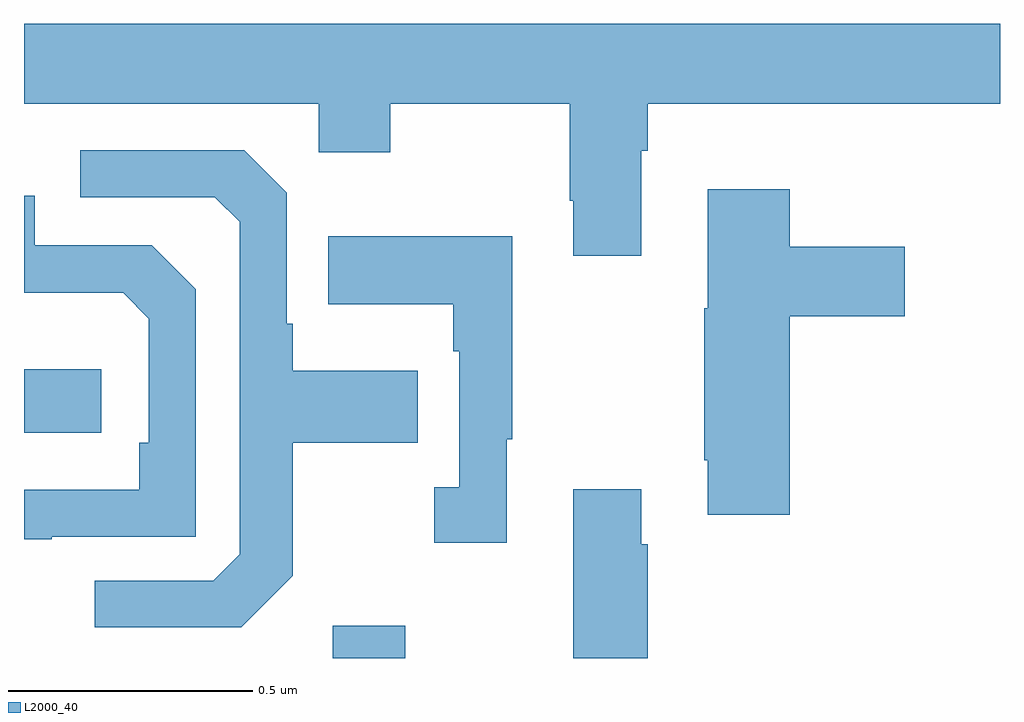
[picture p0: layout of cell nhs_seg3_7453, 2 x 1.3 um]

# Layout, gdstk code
import gdstk
lib = gdstk.Library(unit=1e-6, precision=1e-09)
def R(c, l, rs):  # rectangles x0, y0, x1, y1
    for r in rs: c.add(gdstk.rectangle(r[:2], r[2:], *l))
def P(c, l, *ps):  # polygons
    for p in ps: c.add(gdstk.Polygon(p, *l))
L2000_40 = (2000, 40)

nhs_seg3_7453 = lib.new_cell('nhs_seg3_7453')
R(nhs_seg3_7453, L2000_40, [(203.633,746.4,203.781,746.467), (203,746.862,203.158,746.992)])
P(nhs_seg3_7453, L2000_40, [(204.265,747.44),(204.278,747.44),(204.278,747.536),(205,747.536),(205,747.7),(203,747.7),(203,747.536),(203.604,747.536),(203.604,747.437),(203.751,747.437),(203.751,747.536),(204.118,747.536),(204.118,747.337),(204.125,747.337),(204.125,747.225),(204.265,747.225)],
  [(203.551,746.569),(203.551,746.842),(203.807,746.842),(203.807,746.989),(203.551,746.989),(203.551,747.085),(203.538,747.085),(203.538,747.354),(203.451,747.441),(203.115,747.441),(203.115,747.345),(203.391,747.345),(203.442,747.294),(203.442,746.613),(203.388,746.559),(203.145,746.559),(203.145,746.463),(203.445,746.463)],
  [(204.569,747.101),(204.805,747.101),(204.805,747.243),(204.569,747.243),(204.569,747.361),(204.401,747.361),(204.401,747.117),(204.394,747.117),(204.394,746.806),(204.401,746.806),(204.401,746.694),(204.569,746.694)],
  [(203.057,746.649),(203.352,746.649),(203.352,747.156),(203.262,747.246),(203.022,747.246),(203.022,747.348),(203,747.348),(203,747.149),(203.203,747.149),(203.256,747.096),(203.256,746.842),(203.236,746.842),(203.236,746.745),(203,746.745),(203,746.644),(203.057,746.644)],
  [(203.989,746.849),(204.001,746.849),(204.001,747.265),(203.623,747.265),(203.623,747.125),(203.88,747.125),(203.88,747.029),(203.892,747.029),(203.892,746.75),(203.841,746.75),(203.841,746.637),(203.989,746.637)],
  [(204.278,746.633),(204.265,746.633),(204.265,746.746),(204.125,746.746),(204.125,746.4),(204.278,746.4)])

lib.write_gds('nhs_seg3_7453.gds')
